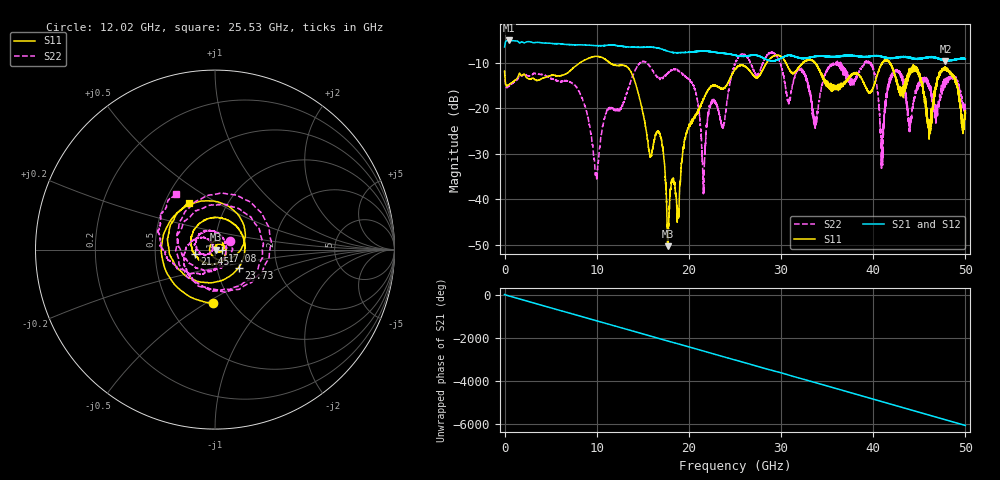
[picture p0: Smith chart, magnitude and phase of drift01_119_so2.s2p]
!Created with skrf (http://scikit-rf.org).
# Hz S RI R 50.0
!freq ReS11 ImS11 ReS21 ImS21 ReS12 ImS12 ReS22 ImS22
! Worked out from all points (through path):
!   10001 points, 300 kHz to 50 GHz, reference 50 ohm
!   highest |S21| = -5.05 dB at 490.3 MHz (marker M1); lowest = -9.6 dB at 47.83 GHz (marker M2)
!   group delay of S21, straight-line fit = 336 ps
!   lowest |S11| = -50.3 dB at 17.69 GHz (marker M3), VSWR 1.01, Z = 50.3 - j0.117 ohm
!   |S11| at or under -10 dB: start of sweep to 8.153 GHz; 11.43 GHz to 28.42 GHz (16.99 GHz wide, 85.3 % of centre); 41.86 GHz to end of sweep (the widest 3 of 11)
!   |S22| runs from -38.9 to -7.6 dB; largest |S21 - S12| = 0.016
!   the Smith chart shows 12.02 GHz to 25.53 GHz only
!   S11 on the Smith chart (normalised r, x): 12.02 GHz: 0.82, -0.54; 17.08 GHz: 1.08, -0.01; 21.45 GHz: 0.80, -0.04; 23.73 GHz: 1.27, -0.27; 25.53 GHz: 0.66, +0.37
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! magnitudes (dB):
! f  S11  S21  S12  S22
! 300 kHz  -11.8  -6.5  -6.5  -11.7
! 490.3 MHz  -14.7  -5.1  -5.1  -15.1
! 8.335 GHz  -9.8  -6.0  -6.0  -17.5
! 9.94 GHz  -8.5  -6.2  -6.2  -34.5
! 12.02 GHz  -10.5  -6.1  -6.1  -20.4
! 16.67 GHz  -25.0  -6.7  -6.7  -13.3
! 17.08 GHz  -27.7  -7.0  -7.0  -13.3
! 17.69 GHz  -50.3  -7.4  -7.4  -12.3
! 20.49 GHz  -22.4  -7.6  -7.6  -14.9
! 21.45 GHz  -18.7  -7.4  -7.4  -30.7
! 22.47 GHz  -15.1  -7.5  -7.6  -19.1
! 23.73 GHz  -15.6  -7.9  -7.9  -24.3
! 25 GHz  -11.4  -8.3  -8.3  -10.3
! 25.53 GHz  -10.5  -8.5  -8.5  -8.4
! 33.34 GHz  -9.4  -8.7  -8.7  -19.5
! 39.49 GHz  -16.4  -8.5  -8.6  -9.9
! 40.95 GHz  -10.2  -8.6  -8.5  -28.5
! 41.67 GHz  -9.6  -8.8  -9.0  -14.5
! 44.76 GHz  -11.7  -9.1  -9.0  -15.3
! 46.1 GHz  -25.5  -8.7  -8.7  -15.3
! 47.83 GHz  -11.0  -9.6  -9.5  -13.7
! 50 GHz  -21.1  -9.1  -9.1  -20.1
